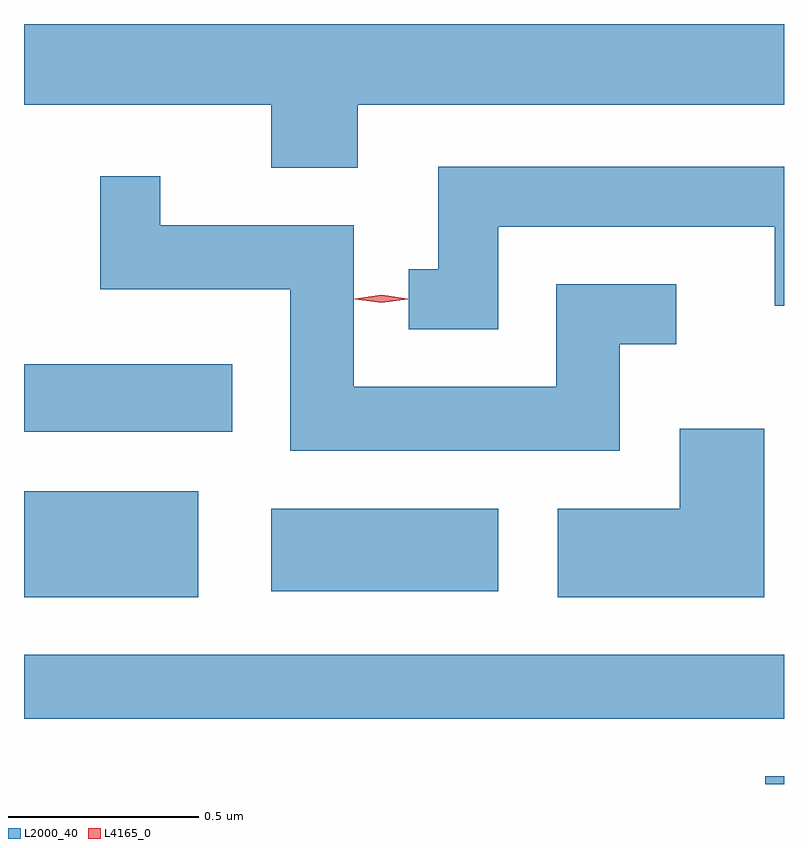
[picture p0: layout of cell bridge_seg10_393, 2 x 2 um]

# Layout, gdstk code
import gdstk
lib = gdstk.Library(unit=1e-6, precision=1e-09)
def R(c, l, rs):  # rectangles x0, y0, x1, y1
    for r in rs: c.add(gdstk.rectangle(r[:2], r[2:], *l))
def P(c, l, *ps):  # polygons
    for p in ps: c.add(gdstk.Polygon(p, *l))
L2000_40 = (2000, 40)
L4165_0 = (4165, 0)

bridge_seg10_393 = lib.new_cell('bridge_seg10_393')
R(bridge_seg10_393, L2000_40, [(1100.481,2094.369,1100.531,2094.389), (1098.531,2094.541,1100.531,2094.709), (1098.531,2094.861,1098.989,2095.139), (1099.181,2094.876,1099.779,2095.094), (1098.531,2095.296,1099.079,2095.474)])
P(bridge_seg10_393, L2000_40, [(1099.409,2096.156),(1100.531,2096.156),(1100.531,2096.369),(1098.531,2096.369),(1098.531,2096.156),(1099.181,2096.156),(1099.181,2095.991),(1099.409,2095.991)],
  [(1099.779,2095.836),(1100.506,2095.836),(1100.506,2095.628),(1100.531,2095.628),(1100.531,2095.994),(1099.621,2095.994),(1099.621,2095.724),(1099.543,2095.724),(1099.543,2095.566),(1099.779,2095.566)],
  [(1100.099,2095.526),(1100.248,2095.526),(1100.248,2095.684),(1099.931,2095.684),(1099.931,2095.414),(1099.399,2095.414),(1099.399,2095.839),(1098.889,2095.839),(1098.889,2095.968),(1098.731,2095.968),(1098.731,2095.671),(1099.231,2095.671),(1099.231,2095.246),(1100.099,2095.246)],
  [(1100.479,2095.304),(1100.256,2095.304),(1100.256,2095.094),(1099.936,2095.094),(1099.936,2094.861),(1100.479,2094.861)])
P(bridge_seg10_393, L4165_0, [(1099.472,2095.636),(1099.402,2095.645),(1099.402,2095.646),(1099.402,2095.646),(1099.472,2095.656),(1099.541,2095.646),(1099.541,2095.646),(1099.541,2095.645)])

lib.write_gds('bridge_seg10_393.gds')
